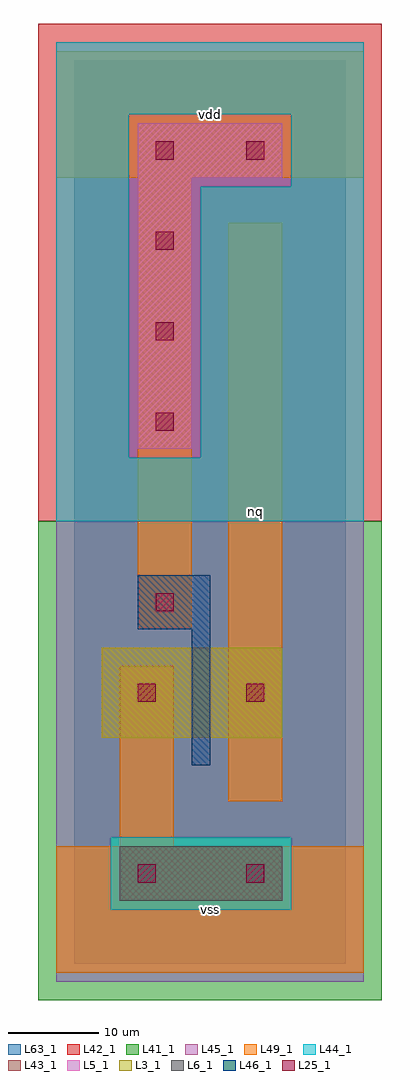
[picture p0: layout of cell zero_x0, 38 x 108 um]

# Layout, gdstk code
import gdstk
lib = gdstk.Library(unit=1e-6, precision=1e-09)
def R(c, l, rs):  # rectangles x0, y0, x1, y1
    for r in rs: c.add(gdstk.rectangle(r[:2], r[2:], *l))
def A(c, l, x, y, w, h, nx, ny, dx, dy):  # array of equal rectangles
    R(c, l, [(x+i*dx, y+j*dy, x+i*dx+w, y+j*dy+h) for i in range(nx) for j in range(ny)])
L3_1 = (3, 1)
L5_1 = (5, 1)
L6_1 = (6, 1)
L25_1 = (25, 1)
L41_1 = (41, 1)
L42_1 = (42, 1)
L43_1 = (43, 1)
L44_1 = (44, 1)
L45_1 = (45, 1)
L46_1 = (46, 1)
L49_1 = (49, 1)
L63_1 = (63, 1)

zero_x0 = lib.new_cell('zero_x0')
R(zero_x0, L3_1, [(3,25,23,35)])
R(zero_x0, L5_1, [(7,57,13,87), (7,87,23,93)])
R(zero_x0, L6_1, [(5,7,23,13)])
A(zero_x0, L25_1, 9, 59, 2, 2, 1, 4, 0, 10)
R(zero_x0, L25_1, [(7,9,9,11), (19,9,21,11), (7,29,9,31), (19,29,21,31), (9,39,11,41), (19,89,21,91)])
R(zero_x0, L41_1, [(-4,-4,34,49)])
R(zero_x0, L42_1, [(-4,49,34,104)])
R(zero_x0, L43_1, [(5,7,23,13), (3,25,23,35), (7,57,13,87), (7,87,23,93)])
R(zero_x0, L44_1, [(4,6,24,14), (-2,49,32,56), (-2,56,6,94), (14,56,32,86), (24,86,32,94), (-2,94,32,102)])
R(zero_x0, L45_1, [(-2,-2,32,6), (-2,6,4,14), (24,6,32,14), (-2,14,32,49), (6,56,14,86), (6,86,24,94)])
R(zero_x0, L46_1, [(13,22,15,37), (7,37,15,43)])
R(zero_x0, L49_1, [(-2,-1,32,13), (5,13,11,33), (17,18,23,82), (7,37,13,87), (-2,87,32,101)])
R(zero_x0, L63_1, [(0,0,30,100)])
zero_x0.add(gdstk.Label('vss', (15,6), layer=49, texttype=1))
zero_x0.add(gdstk.Label('vss', (15,6), layer=49, texttype=1))
zero_x0.add(gdstk.Label('vdd', (15,94), layer=49, texttype=1))
zero_x0.add(gdstk.Label('vdd', (15,94), layer=49, texttype=1))
zero_x0.add(gdstk.Label('nq', (20,50), layer=49, texttype=1))
zero_x0.add(gdstk.Label('nq', (20,50), layer=49, texttype=1))

lib.write_gds('zero_x0.gds')
